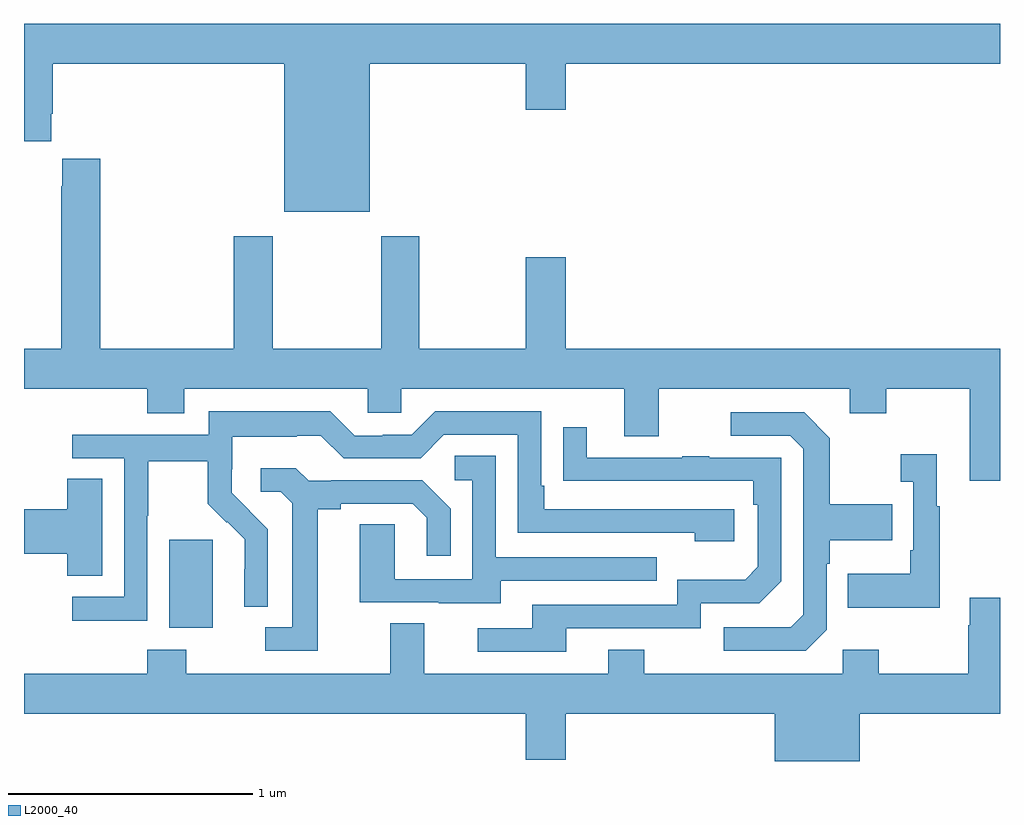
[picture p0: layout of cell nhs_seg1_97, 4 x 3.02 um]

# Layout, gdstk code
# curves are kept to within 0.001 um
import gdstk
lib = gdstk.Library(unit=1e-6, precision=1e-09)
def R(c, l, rs):  # rectangles x0, y0, x1, y1
    for r in rs: c.add(gdstk.rectangle(r[:2], r[2:], *l))
def P(c, l, *ps):  # polygons
    for p in ps: c.add(gdstk.Polygon(p, *l))
L2000_40 = (2000, 40)

nhs_seg1_97 = lib.new_cell('nhs_seg1_97')
R(nhs_seg1_97, L2000_40, [(115.595,558.746,115.774,559.107)])
P(nhs_seg1_97, L2000_40, [(116.416,561.056),(117.056,561.056),(117.056,560.868),(117.22,560.868),(117.22,561.056),(119,561.056),(119,561.22),(115,561.22),(115,560.739),(115.111,560.739),(115.111,560.851),(115.118,560.851),(115.118,561.056),(116.066,561.056),(116.066,560.45),(116.416,560.45)],
  [(119,559.888),(117.22,559.888),(117.22,560.263),(117.056,560.263),(117.056,559.888),(116.619,559.888),(116.619,560.35),(116.464,560.35),(116.464,559.888),(116.019,559.888),(116.019,560.35),(115.859,560.35),(115.859,559.888),(115.313,559.888),(115.313,560.668),(115.157,560.668),(115.157,560.555),(115.153,560.555),(115.153,559.888),(115,559.888),(115,559.724),(115.505,559.724),(115.505,559.625),(115.657,559.625),(115.657,559.724),(116.409,559.724),(116.409,559.626),(116.547,559.626),(116.547,559.724),(117.461,559.724),(117.461,559.53),(117.601,559.53),(117.601,559.724),(118.385,559.724),(118.385,559.625),(118.533,559.625),(118.533,559.724),(118.877,559.724),(118.877,559.347),(119,559.347)],
  [(115.506,559.204),(115.509,559.204),(115.509,559.428),(115.753,559.428),(115.753,559.253),(115.83,559.176),(115.833,559.179),(115.904,559.109),(115.904,558.986),(115.902,558.986),(115.902,558.832),(115.998,558.832),(115.998,559.15),(115.852,559.298),(115.852,559.395),(115.854,559.395),(115.854,559.529),(116.117,559.529),(116.117,559.533),(116.217,559.533),(116.31,559.44),(116.625,559.44),(116.721,559.536),(117.024,559.536),(117.024,559.134),(117.749,559.134),(117.749,559.1),(117.91,559.1),(117.91,559.23),(117.133,559.23),(117.133,559.327),(117.12,559.327),(117.12,559.632),(116.685,559.632),(116.589,559.536),(116.471,559.536),(116.471,559.533),(116.355,559.533),(116.255,559.633),(115.758,559.633),(115.758,559.536),(115.197,559.536),(115.197,559.44),(115.41,559.44),(115.41,558.873),(115.197,558.873),(115.197,558.775),(115.506,558.775)],
  [(118.29,558.738),(118.29,559.007),(118.303,559.007),(118.303,559.103),(118.559,559.103),(118.559,559.251),(118.303,559.251),(118.303,559.523),(118.197,559.629),(117.897,559.629),(117.897,559.533),(118.14,559.533),(118.194,559.479),(118.194,558.798),(118.143,558.747),(117.867,558.747),(117.867,558.651),(118.203,558.651)],
  [(117.223,558.744),(117.774,558.744),(117.774,558.846),(118.014,558.846),(118.104,558.936),(118.104,559.443),(117.809,559.443),(117.809,559.448),(117.697,559.448),(117.697,559.443),(117.307,559.443),(117.307,559.567),(117.211,559.567),(117.211,559.348),(117.988,559.347),(117.988,559.25),(118.008,559.25),(118.008,558.996),(117.955,558.943),(117.678,558.943),(117.678,558.84),(117.083,558.84),(117.083,558.744),(116.859,558.744),(116.859,558.648),(117.223,558.648)],
  [(118.753,559.243),(118.741,559.243),(118.741,559.456),(118.593,559.456),(118.593,559.343),(118.644,559.343),(118.644,559.063),(118.632,559.063),(118.632,558.967),(118.375,558.967),(118.375,558.827),(118.753,558.827)],
  [(116.953,558.939),(117.593,558.939),(117.593,559.035),(116.934,559.035),(116.934,559.451),(116.766,559.451),(116.766,559.35),(116.838,559.35),(116.838,558.945),(116.52,558.945),(116.52,559.169),(116.375,559.169),(116.375,558.849),(116.699,558.849),(116.699,558.845),(116.953,558.845)],
  [(116.203,559.232),(116.299,559.232),(116.299,559.254),(116.594,559.254),(116.651,559.197),(116.651,559.041),(116.748,559.041),(116.748,559.234),(116.632,559.35),(116.26,559.35),(116.26,559.347),(116.166,559.347),(116.114,559.399),(115.971,559.399),(115.971,559.302),(116.052,559.302),(116.099,559.255),(116.099,558.747),(115.989,558.747),(115.989,558.651),(116.203,558.651)],
  [(115.321,559.355),(115.178,559.355),(115.178,559.232),(115,559.232),(115,559.049),(115.178,559.049),(115.178,558.958),(115.321,558.958)],
  [(118.426,558.392),(119,558.392),(119,558.868),(118.877,558.868),(118.877,558.755),(118.87,558.755),(118.87,558.556),(118.503,558.556),(118.503,558.655),(118.356,558.655),(118.356,558.556),(117.543,558.556),(117.543,558.655),(117.395,558.655),(117.395,558.556),(116.641,558.556),(116.641,558.764),(116.501,558.764),(116.501,558.556),(115.665,558.556),(115.665,558.655),(115.505,558.655),(115.505,558.556),(115,558.556),(115,558.392),(117.056,558.392),(117.056,558.204),(117.22,558.204),(117.22,558.392),(118.076,558.392),(118.076,558.199),(118.426,558.199)])

lib.write_gds('nhs_seg1_97.gds')
